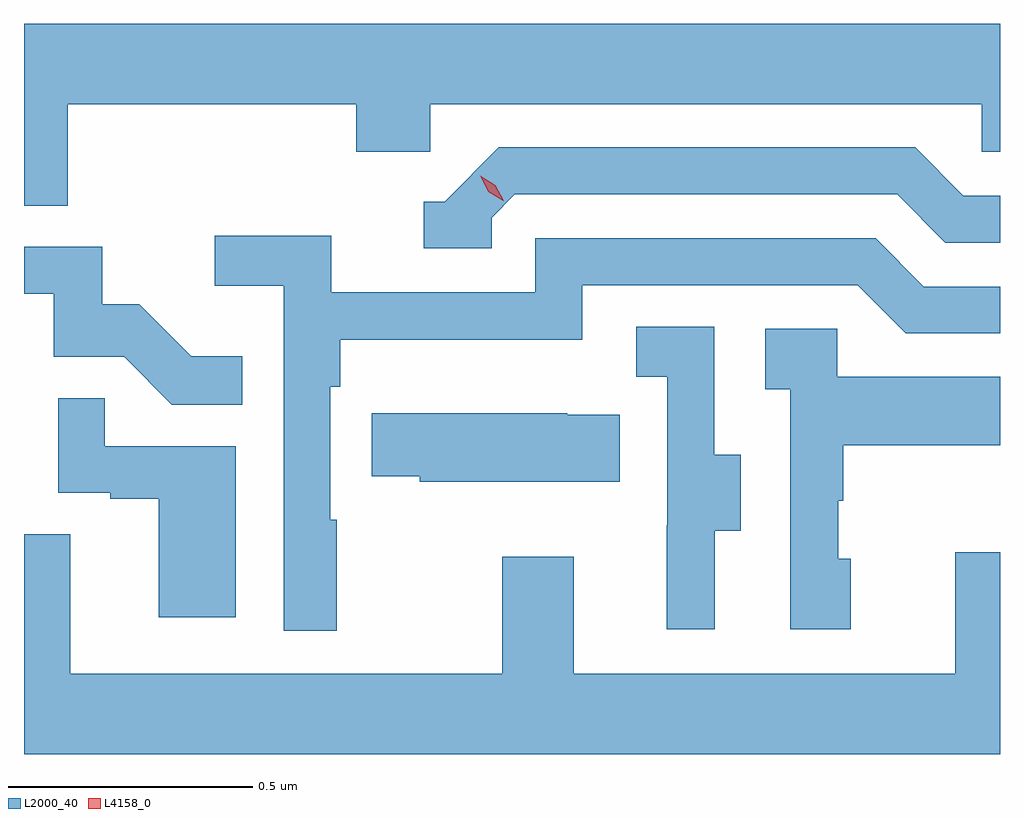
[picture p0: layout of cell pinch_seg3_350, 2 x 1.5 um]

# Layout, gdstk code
import gdstk
lib = gdstk.Library(unit=1e-6, precision=1e-09)
def P(c, l, *ps):  # polygons
    for p in ps: c.add(gdstk.Polygon(p, *l))
L2000_40 = (2000, 40)
L4158_0 = (4158, 0)

pinch_seg3_350 = lib.new_cell('pinch_seg3_350')
P(pinch_seg3_350, L2000_40, [(962.582,727.556),(963.173,727.556),(963.173,727.458),(963.324,727.458),(963.324,727.556),(964.455,727.556),(964.455,727.458),(964.492,727.458),(964.492,727.72),(962.492,727.72),(962.492,727.348),(962.582,727.348)],
  [(963.45,727.323),(963.498,727.371),(964.281,727.371),(964.38,727.272),(964.492,727.272),(964.492,727.368),(964.417,727.368),(964.318,727.467),(963.465,727.467),(963.354,727.356),(963.311,727.356),(963.311,727.26),(963.45,727.26)],
  [(963.133,726.704),(963.12,726.704),(963.12,726.977),(963.14,726.977),(963.14,727.073),(963.636,727.073),(963.636,727.185),(964.2,727.185),(964.299,727.086),(964.492,727.086),(964.492,727.182),(964.336,727.182),(964.237,727.281),(963.54,727.281),(963.54,727.17),(963.122,727.17),(963.122,727.286),(962.883,727.286),(962.883,727.184),(963.024,727.184),(963.024,726.477),(963.133,726.477)],
  [(962.939,727.039),(962.835,727.039),(962.728,727.146),(962.652,727.146),(962.652,727.263),(962.492,727.263),(962.492,727.167),(962.553,727.167),(962.553,727.038),(962.697,727.038),(962.795,726.94),(962.939,726.94)],
  [(963.907,726.682),(963.961,726.682),(963.961,726.837),(963.906,726.837),(963.906,727.1),(963.747,727.1),(963.747,726.997),(963.81,726.997),(963.81,726.693),(963.809,726.693),(963.809,726.48),(963.907,726.48)],
  [(964.186,726.624),(964.161,726.624),(964.161,726.743),(964.171,726.743),(964.171,726.857),(964.492,726.857),(964.492,726.997),(964.158,726.997),(964.158,727.095),(964.011,727.095),(964.011,726.971),(964.062,726.971),(964.062,726.48),(964.186,726.48)],
  [(962.926,726.855),(962.657,726.855),(962.657,726.953),(962.562,726.953),(962.562,726.759),(962.669,726.759),(962.669,726.747),(962.768,726.747),(962.768,726.504),(962.926,726.504)],
  [(963.713,726.919),(963.605,726.919),(963.605,726.922),(963.205,726.922),(963.205,726.793),(963.303,726.793),(963.303,726.782),(963.713,726.782)],
  [(964.492,726.637),(964.4,726.637),(964.4,726.388),(963.619,726.388),(963.619,726.628),(963.472,726.628),(963.472,726.388),(962.587,726.388),(962.587,726.674),(962.492,726.674),(962.492,726.224),(964.492,726.224)])
P(pinch_seg3_350, L4158_0, [(963.474,727.358),(963.443,727.376),(963.427,727.409),(963.427,727.409),(963.427,727.409),(963.458,727.39),(963.475,727.358),(963.475,727.358)])

lib.write_gds('pinch_seg3_350.gds')
